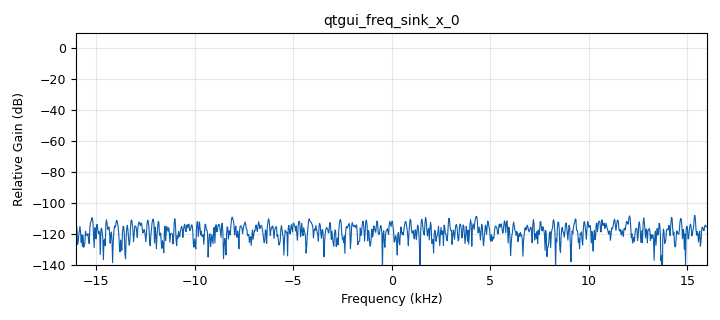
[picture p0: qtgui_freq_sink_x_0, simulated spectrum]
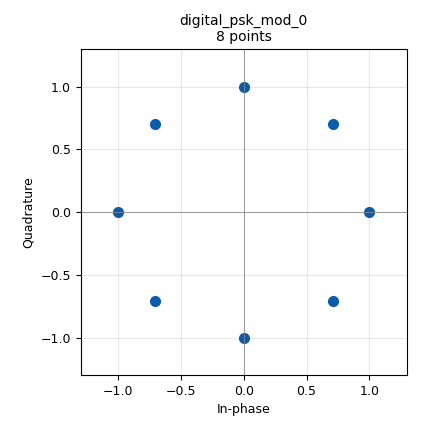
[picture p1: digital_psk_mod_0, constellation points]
<?xml version='1.0' encoding='utf-8'?>
<?grc format='1' created='3.7.11'?>
<flow_graph>
<block>
<key>options</key>
<param><key>id</key><value>top_block</value></param>
<param><key>generate_options</key><value>qt_gui</value></param>
</block>
<block>
<key>variable_qtgui_range</key>
<param><key>id</key><value>freq</value></param>
<param><key>value</key><value>0</value></param>
<param><key>orient</key><value>Qt.Horizontal</value></param>
<param><key>start</key><value>0</value></param>
<param><key>step</key><value>1e3</value></param>
<param><key>stop</key><value>samp_rate/2</value></param>
</block>
<block>
<key>variable_qtgui_chooser</key>
<param><key>id</key><value>on_off_option</value></param>
<param><key>value</key><value>0</value></param>
<param><key>num_opts</key><value>2</value></param>
<param><key>option0</key><value>0</value></param>
<param><key>option1</key><value>1</value></param>
<param><key>type</key><value>int</value></param>
<param><key>widget</key><value>radio_buttons</value></param>
</block>
<block>
<key>variable</key>
<param><key>id</key><value>samp_rate</value></param>
<param><key>value</key><value>32000</value></param>
</block>
<block>
<key>analog_noise_source_x</key>
<param><key>id</key><value>analog_noise_source_x_0</value></param>
<param><key>amp</key><value>0.0001</value></param>
<param><key>noise_type</key><value>analog.GR_GAUSSIAN</value></param>
<param><key>type</key><value>complex</value></param>
<param><key>seed</key><value>0</value></param>
</block>
<block>
<key>analog_random_source_x</key>
<param><key>id</key><value>analog_random_source_x_0</value></param>
<param><key>max</key><value>255</value></param>
<param><key>min</key><value>0</value></param>
<param><key>num_samps</key><value>1024</value></param>
<param><key>type</key><value>byte</value></param>
<param><key>repeat</key><value>True</value></param>
</block>
<block>
<key>analog_sig_source_x</key>
<param><key>id</key><value>analog_sig_source_x_0</value></param>
<param><key>amp</key><value>1*on_off_option</value></param>
<param><key>freq</key><value>freq</value></param>
<param><key>offset</key><value>0</value></param>
<param><key>type</key><value>complex</value></param>
<param><key>samp_rate</key><value>samp_rate</value></param>
<param><key>waveform</key><value>analog.GR_COS_WAVE</value></param>
</block>
<block>
<key>blocks_add_xx</key>
<param><key>id</key><value>blocks_add_xx_0</value></param>
<param><key>type</key><value>complex</value></param>
</block>
<block>
<key>blocks_message_debug</key>
<param><key>id</key><value>blocks_message_debug_0</value></param>
</block>
<block>
<key>blocks_multiply_xx</key>
<param><key>id</key><value>blocks_multiply_xx_0</value></param>
<param><key>type</key><value>complex</value></param>
</block>
<block>
<key>blocks_throttle</key>
<param><key>id</key><value>blocks_throttle_0</value></param>
<param><key>samples_per_second</key><value>samp_rate</value></param>
<param><key>type</key><value>complex</value></param>
</block>
<block>
<key>digital_psk_mod</key>
<param><key>id</key><value>digital_psk_mod_0</value></param>
<param><key>differential</key><value>True</value></param>
<param><key>excess_bw</key><value>0.35</value></param>
<param><key>mod_code</key><value>"gray"</value></param>
<param><key>constellation_points</key><value>8</value></param>
<param><key>samples_per_symbol</key><value>8</value></param>
</block>
<block>
<key>qtgui_freq_sink_x</key>
<param><key>id</key><value>qtgui_freq_sink_x_0</value></param>
<param><key>bw</key><value>samp_rate</value></param>
<param><key>fc</key><value>0</value></param>
<param><key>fftsize</key><value>1024</value></param>
<param><key>showports</key><value>True</value></param>
<param><key>type</key><value>complex</value></param>
<param><key>wintype</key><value>firdes.WIN_BLACKMAN_hARRIS</value></param>
</block>
<block>
<key>spy_sensing</key>
<param><key>id</key><value>spy_sensing_0</value></param>
<param><key>nf_est</key><value>True</value></param>
<param><key>num_channels</key><value>16</value></param>
<param><key>fft_size</key><value>1024</value></param>
<param><key>noise_floor</key><value>-100</value></param>
<param><key>method</key><value>energy</value></param>
<param><key>occup_percent</key><value>20</value></param>
<param><key>samp_rate</key><value>samp_rate</value></param>
<param><key>threshold</key><value>10</value></param>
</block>
<connection><source_block_id>analog_noise_source_x_0</source_block_id><sink_block_id>blocks_add_xx_0</sink_block_id><source_key>0</source_key><sink_key>1</sink_key></connection>
<connection><source_block_id>analog_random_source_x_0</source_block_id><sink_block_id>digital_psk_mod_0</sink_block_id><source_key>0</source_key><sink_key>0</sink_key></connection>
<connection><source_block_id>analog_sig_source_x_0</source_block_id><sink_block_id>blocks_multiply_xx_0</sink_block_id><source_key>0</source_key><sink_key>1</sink_key></connection>
<connection><source_block_id>blocks_add_xx_0</source_block_id><sink_block_id>blocks_throttle_0</sink_block_id><source_key>0</source_key><sink_key>0</sink_key></connection>
<connection><source_block_id>blocks_add_xx_0</source_block_id><sink_block_id>qtgui_freq_sink_x_0</sink_block_id><source_key>0</source_key><sink_key>0</sink_key></connection>
<connection><source_block_id>blocks_multiply_xx_0</source_block_id><sink_block_id>blocks_add_xx_0</sink_block_id><source_key>0</source_key><sink_key>0</sink_key></connection>
<connection><source_block_id>blocks_throttle_0</source_block_id><sink_block_id>spy_sensing_0</sink_block_id><source_key>0</source_key><sink_key>0</sink_key></connection>
<connection><source_block_id>digital_psk_mod_0</source_block_id><sink_block_id>blocks_multiply_xx_0</sink_block_id><source_key>0</source_key><sink_key>0</sink_key></connection>
<connection><source_block_id>spy_sensing_0</source_block_id><sink_block_id>blocks_message_debug_0</sink_block_id><source_key>out</source_key><sink_key>print</sink_key></connection>
</flow_graph>
